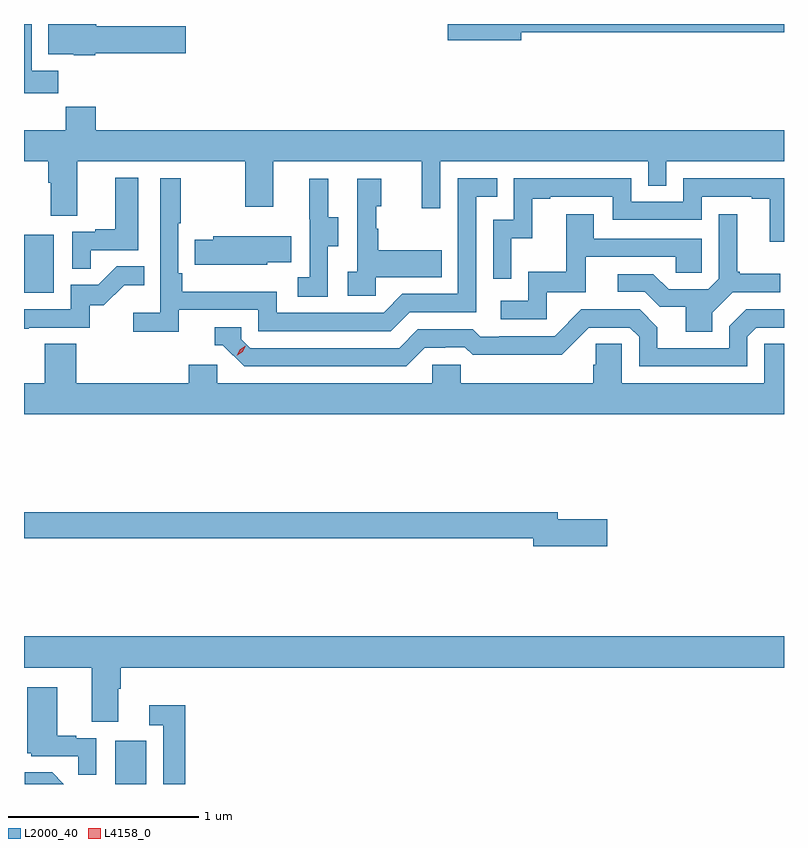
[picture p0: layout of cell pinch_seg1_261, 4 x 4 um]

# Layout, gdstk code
import gdstk
lib = gdstk.Library(unit=1e-6, precision=1e-09)
def R(c, l, rs):  # rectangles x0, y0, x1, y1
    for r in rs: c.add(gdstk.rectangle(r[:2], r[2:], *l))
def P(c, l, *ps):  # polygons
    for p in ps: c.add(gdstk.Polygon(p, *l))
L2000_40 = (2000, 40)
L4158_0 = (4158, 0)

pinch_seg1_261 = lib.new_cell('pinch_seg1_261')
R(pinch_seg1_261, L2000_40, [(926.822,571.099,926.986,571.327), (926.343,573.684,926.5,573.991)])
P(pinch_seg1_261, L2000_40, [(928.96,575.056),(930.343,575.056),(930.343,575.099),(928.572,575.099),(928.572,575.014),(928.96,575.014)],
  [(926.522,574.852),(926.383,574.852),(926.383,575.099),(926.343,575.099),(926.343,574.734),(926.522,574.734)],
  [(926.718,574.945),(927.193,574.945),(927.193,575.087),(926.722,575.087),(926.722,575.099),(926.471,575.099),(926.471,574.94),(926.604,574.94),(926.604,574.934),(926.718,574.934)],
  [(926.623,574.376),(927.508,574.376),(927.508,574.137),(927.655,574.137),(927.655,574.376),(928.436,574.376),(928.436,574.128),(928.533,574.128),(928.533,574.376),(929.628,574.376),(929.628,574.249),(929.724,574.249),(929.724,574.376),(930.343,574.376),(930.343,574.54),(926.72,574.54),(926.72,574.664),(926.563,574.664),(926.563,574.54),(926.343,574.54),(926.343,574.376),(926.471,574.376),(926.471,574.264),(926.483,574.264),(926.483,574.09),(926.623,574.09)],
  [(926.693,573.909),(926.944,573.909),(926.944,574.291),(926.822,574.291),(926.822,574.018),(926.719,574.018),(926.719,574.005),(926.598,574.005),(926.598,573.811),(926.693,573.811)],
  [(927.158,573.594),(927.576,573.594),(927.576,573.483),(928.273,573.483),(928.372,573.582),(928.722,573.582),(928.722,574.191),(928.835,574.191),(928.835,574.287),(928.626,574.287),(928.626,573.678),(928.335,573.678),(928.236,573.579),(927.672,573.579),(927.672,573.691),(927.175,573.691),(927.175,573.787),(927.156,573.787),(927.156,574.051),(927.169,574.051),(927.169,574.288),(927.06,574.288),(927.06,573.58),(926.919,573.58),(926.919,573.478),(927.158,573.478)],
  [(928.908,573.971),(929.018,573.971),(929.018,574.179),(929.113,574.179),(929.113,574.191),(929.442,574.191),(929.442,574.068),(929.91,574.068),(929.91,574.191),(930.173,574.191),(930.173,574.179),(930.269,574.179),(930.269,573.953),(930.343,573.953),(930.343,574.287),(929.814,574.287),(929.814,574.164),(929.538,574.164),(929.538,574.287),(928.92,574.287),(928.92,574.068),(928.812,574.068),(928.812,573.759),(928.908,573.759)],
  [(928.194,573.767),(928.541,573.767),(928.541,573.907),(928.207,573.907),(928.207,574.022),(928.197,574.022),(928.197,574.14),(928.222,574.14),(928.222,574.285),(928.098,574.285),(928.098,573.794),(928.047,573.794),(928.047,573.669),(928.194,573.669)],
  [(927.942,573.928),(927.997,573.928),(927.997,574.083),(927.943,574.083),(927.943,574.285),(927.845,574.285),(927.845,574.071),(927.846,574.071),(927.846,573.767),(927.783,573.767),(927.783,573.664),(927.942,573.664)],
  [(929.965,573.58),(930.072,573.687),(930.322,573.687),(930.322,573.784),(930.109,573.784),(930.109,573.796),(930.097,573.796),(930.097,574.099),(930,574.099),(930,573.759),(929.943,573.702),(929.737,573.702),(929.656,573.783),(929.469,573.783),(929.469,573.69),(929.61,573.69),(929.69,573.61),(929.825,573.61),(929.825,573.478),(929.965,573.478)],
  [(929.094,573.687),(929.299,573.687),(929.299,573.873),(929.773,573.873),(929.773,573.789),(929.91,573.789),(929.91,573.969),(929.341,573.969),(929.341,574.099),(929.197,574.099),(929.197,573.796),(928.998,573.796),(928.998,573.642),(928.851,573.642),(928.851,573.546),(929.094,573.546)],
  [(927.624,573.845),(927.749,573.845),(927.749,573.982),(927.339,573.982),(927.339,573.963),(927.241,573.963),(927.241,573.833),(927.624,573.833)],
  [(926.369,573.501),(926.688,573.501),(926.688,573.618),(926.764,573.618),(926.871,573.725),(926.975,573.725),(926.975,573.824),(926.832,573.824),(926.734,573.726),(926.589,573.726),(926.589,573.597),(926.343,573.597),(926.343,573.496),(926.369,573.496)],
  [(928.453,573.396),(928.56,573.396),(928.56,573.399),(928.663,573.399),(928.705,573.357),(928.938,573.357),(928.938,573.359),(929.174,573.359),(929.316,573.501),(929.532,573.501),(929.58,573.453),(929.58,573.297),(930.15,573.297),(930.15,573.453),(930.198,573.501),(930.343,573.501),(930.343,573.597),(930.144,573.597),(930.054,573.507),(930.054,573.393),(929.677,573.393),(929.677,573.503),(929.583,573.597),(929.277,573.597),(929.136,573.456),(928.843,573.456),(928.843,573.453),(928.744,573.453),(928.705,573.492),(928.416,573.492),(928.317,573.393),(927.534,573.393),(927.486,573.441),(927.486,573.504),(927.347,573.504),(927.347,573.408),(927.39,573.408),(927.501,573.297),(928.354,573.297)],
  [(930.343,573.416),(930.24,573.416),(930.24,573.208),(929.49,573.208),(929.49,573.416),(929.353,573.416),(929.353,573.306),(929.339,573.306),(929.339,573.208),(928.641,573.208),(928.641,573.306),(928.491,573.306),(928.491,573.208),(927.36,573.208),(927.36,573.306),(927.209,573.306),(927.209,573.208),(926.618,573.208),(926.618,573.416),(926.453,573.416),(926.453,573.208),(926.343,573.208),(926.343,573.044),(930.343,573.044)],
  [(929.413,572.492),(929.152,572.492),(929.152,572.528),(926.343,572.528),(926.343,572.392),(929.024,572.392),(929.024,572.35),(929.413,572.35)],
  [(926.839,571.6),(926.852,571.6),(926.852,571.712),(930.343,571.712),(930.343,571.876),(926.343,571.876),(926.343,571.712),(926.699,571.712),(926.699,571.426),(926.839,571.426)],
  [(926.724,571.341),(926.618,571.341),(926.618,571.354),(926.518,571.354),(926.518,571.609),(926.36,571.609),(926.36,571.26),(926.382,571.26),(926.382,571.245),(926.629,571.245),(926.629,571.147),(926.724,571.147)],
  [(927.191,571.513),(927.003,571.513),(927.003,571.407),(927.075,571.407),(927.075,571.099),(927.191,571.099)],
  [(926.491,571.16),(926.347,571.16),(926.347,571.099),(926.552,571.099)])
P(pinch_seg1_261, L4158_0, [(927.464,573.354),(927.464,573.354),(927.48,573.387),(927.511,573.406),(927.511,573.406),(927.511,573.406),(927.495,573.373),(927.464,573.354)])

lib.write_gds('pinch_seg1_261.gds')
